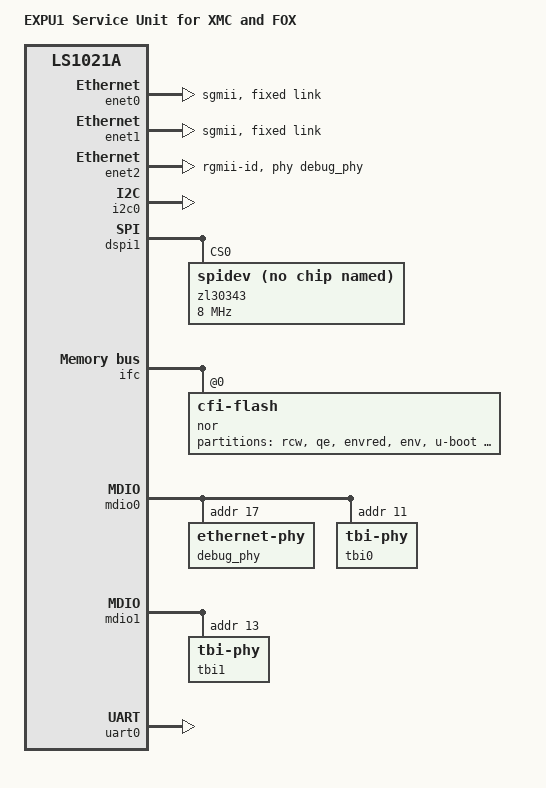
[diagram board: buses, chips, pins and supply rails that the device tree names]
// SPDX-License-Identifier: GPL-2.0+
/*
 * Hitachi ABB Power Grids EXPU1 board device tree source
 *
 * Copyright 2020 Hitachi ABB Power Grids
 *
 * Copyright 2013-2015 Freescale Semiconductor, Inc.
 */

/dts-v1/;
#include "ls1021a.dtsi"

/ {
	model = "EXPU1 Service Unit for XMC and FOX";

	aliases {
		enet2-rgmii-debug-phy = &debug_phy;
	};

	chosen {
		stdout-path = &uart0;
	};
};

&enet0 {
	status = "okay";
	tbi-handle = <&tbi0>;
	phy-connection-type = "sgmii";
	fixed-link {
		speed = <1000>;
		full-duplex;
	};
};

&enet1 {
	status = "okay";
	tbi-handle = <&tbi1>;
	phy-connection-type = "sgmii";
	fixed-link {
		speed = <1000>;
		full-duplex;
	};
};

&enet2 {
	phy-handle = <&debug_phy>;
	phy-connection-type = "rgmii-id";
	max-speed = <100>;
	status = "okay";
};

&i2c0 {
	status = "okay";
};

&dspi1 {
	bus-num = <0>;
	status = "okay";
	zl30343@0 {
		compatible = "gen,spidev", "zarlink,zl30343";
		reg = <0>;
		spi-max-frequency = <8000000>;
	};
};

&ifc {
	#address-cells = <2>;
	#size-cells = <1>;
	/* NOR Flash on board */
	ranges = <0x0 0x0 0x60000000 0x04000000>;
	status = "okay";

	nor@0,0 {
		#address-cells = <1>;
		#size-cells = <1>;
		compatible = "cfi-flash";
		reg = <0x0 0x0 0x4000000>;
		bank-width = <2>;
		device-width = <1>;

		partition@0 {
			label = "rcw";
			reg = <0x0 0x20000>;
			read-only;
		};
		partition@20000 {
			label = "qe";
			reg = <0x20000 0x20000>;
		};
		partition@40000 {
			label = "envred";
			reg = <0x40000 0x20000>;
		};
		partition@60000 {
			label = "env";
			reg = <0x60000 0x20000>;
		};
		partition@100000 {
			label = "u-boot";
			reg = <0x100000 0x100000>;
		};
		partition@200000 {
			label = "redenvred";
			reg = <0x200000 0x20000>;
		};
		partition@220000 {
			label = "redenv";
			reg = <0x220000 0x20000>;
		};
		partition@240000 {
			label = "redu-boot";
			reg = <0x240000 0x100000>;
		};
		partition@340000 {
			label = "ubi0";
			reg = <0x340000 0x03C00000>;
		};
	};
};

&mdio0 {
	debug_phy: ethernet-phy@11 {
		reg = <0x11>;
	};

	tbi0: tbi-phy@0xb {
		reg = <0xb>;
		device_type = "tbi-phy";
	};
};

&mdio1 {
	tbi1: tbi-phy@0xd {
		reg = <0xd>;
		device_type = "tbi-phy";
	};
};

&uart0 {
	status = "okay";
};
